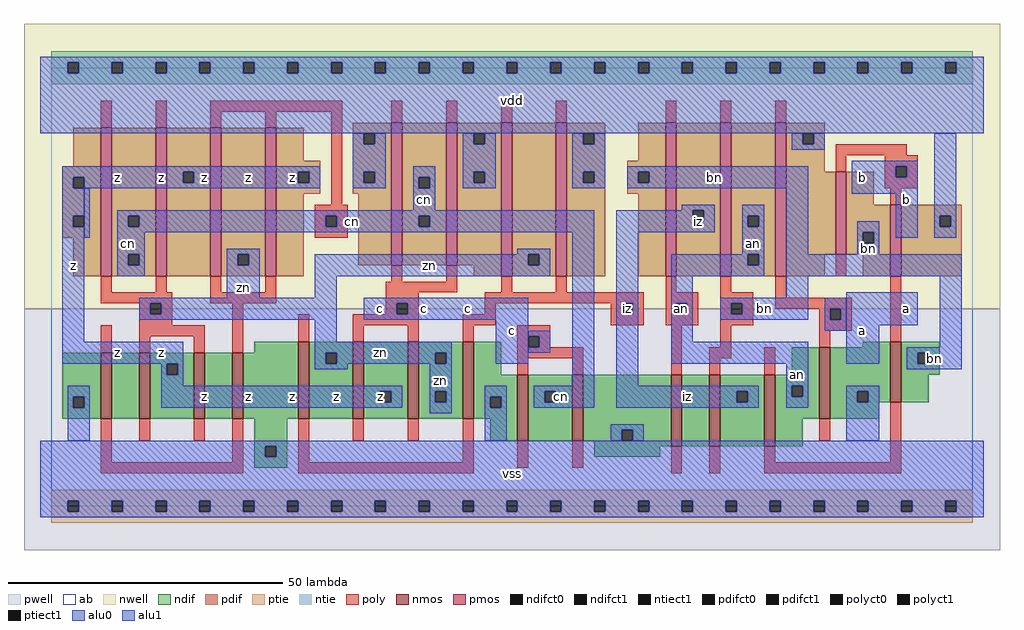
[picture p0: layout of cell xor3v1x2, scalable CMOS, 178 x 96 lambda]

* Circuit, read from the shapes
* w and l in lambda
.subckt xor3v1x2 a an b bn c cn iz vdd vss z zn
M1 n1 cn vss vss nfet w=12 l=2
M2 z zn n1 vss nfet w=12 l=2
M3 n2 zn z vss nfet w=12 l=2
M4 vss cn n2 vss nfet w=12 l=2
M5 zn iz vss vss nfet w=14 l=2 m=2
M6 z c zn vss nfet w=14 l=2 m=2
M7 cn c vss vss nfet w=12 l=2 m=2
M8 n3 an vss vss nfet w=13 l=2
M9 iz bn n3 vss nfet w=13 l=2
M10 an b iz vss nfet w=13 l=2
M11 vss a an vss nfet w=13 l=2
M12 bn b vss vss nfet w=11 l=2
M13 cn zn z vdd pfet w=27 l=2 m=2
M14 zn cn z vdd pfet w=27 l=2 m=2
M15 cn c vdd vdd pfet w=26 l=2 m=2
M16 zn iz vdd vdd pfet w=28 l=2 m=2
M17 iz an bn vdd pfet w=28 l=2
M18 an bn iz vdd pfet w=28 l=2
M19 vdd a an vdd pfet w=28 l=2
M20 bn b vdd vdd pfet w=15 l=2
M21 vdd b bn vdd pfet w=13 l=2
.ends

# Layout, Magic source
magic
tech scmos
<< ab >>
rect 0 0 168 80
<< nwell >>
rect -5 36 173 88
<< pwell >>
rect -5 -8 173 36
<< poly >>
rect 9 69 11 74
rect 19 69 21 74
rect 29 72 53 74
rect 29 69 31 72
rect 39 69 41 72
rect 51 55 53 72
rect 62 70 64 74
rect 72 70 74 74
rect 82 70 84 74
rect 92 70 94 74
rect 112 70 114 74
rect 122 70 124 74
rect 132 70 134 74
rect 48 53 54 55
rect 48 51 50 53
rect 52 51 54 53
rect 48 49 54 51
rect 9 39 11 42
rect 19 39 21 42
rect 29 39 31 42
rect 39 39 41 42
rect 62 41 64 44
rect 72 41 74 44
rect 143 64 156 66
rect 143 61 145 64
rect 152 62 158 64
rect 152 60 154 62
rect 156 60 158 62
rect 152 58 158 60
rect 153 55 155 58
rect 143 42 145 46
rect 9 37 22 39
rect 29 37 41 39
rect 61 39 74 41
rect 82 39 84 42
rect 92 39 94 42
rect 112 39 114 42
rect 122 39 124 42
rect 61 37 67 39
rect 16 35 18 37
rect 20 35 22 37
rect 16 33 22 35
rect 9 28 11 33
rect 16 31 28 33
rect 16 28 18 31
rect 26 28 28 31
rect 33 28 35 37
rect 61 35 63 37
rect 65 35 67 37
rect 79 37 108 39
rect 79 35 81 37
rect 45 30 47 35
rect 55 33 67 35
rect 55 30 57 33
rect 65 30 67 33
rect 75 33 81 35
rect 102 35 104 37
rect 106 35 108 37
rect 102 33 108 35
rect 112 37 118 39
rect 112 35 114 37
rect 116 35 118 37
rect 112 33 118 35
rect 122 37 128 39
rect 122 35 124 37
rect 126 35 128 37
rect 132 38 134 42
rect 132 36 146 38
rect 122 33 128 35
rect 140 34 142 36
rect 144 34 146 36
rect 75 30 77 33
rect 85 31 91 33
rect 85 29 87 31
rect 89 29 91 31
rect 85 27 97 29
rect 85 24 87 27
rect 95 24 97 27
rect 113 24 115 33
rect 122 29 124 33
rect 140 32 146 34
rect 140 29 142 32
rect 153 30 155 42
rect 120 27 124 29
rect 120 24 122 27
rect 130 24 132 29
rect 9 8 11 16
rect 16 12 18 16
rect 26 12 28 16
rect 33 8 35 16
rect 9 6 35 8
rect 45 8 47 16
rect 55 12 57 16
rect 65 12 67 16
rect 75 8 77 16
rect 45 6 77 8
rect 85 7 87 12
rect 95 7 97 12
rect 140 12 142 16
rect 113 6 115 11
rect 120 6 122 11
rect 130 8 132 11
rect 153 8 155 19
rect 130 6 155 8
<< ndif >>
rect 37 28 45 30
rect 2 20 9 28
rect 2 18 4 20
rect 6 18 9 20
rect 2 16 9 18
rect 11 16 16 28
rect 18 26 26 28
rect 18 24 21 26
rect 23 24 26 26
rect 18 16 26 24
rect 28 16 33 28
rect 35 16 45 28
rect 47 28 55 30
rect 47 26 50 28
rect 52 26 55 28
rect 47 16 55 26
rect 57 21 65 30
rect 57 19 60 21
rect 62 19 65 21
rect 57 16 65 19
rect 67 28 75 30
rect 67 26 70 28
rect 72 26 75 28
rect 67 21 75 26
rect 67 19 70 21
rect 72 19 75 21
rect 67 16 75 19
rect 77 24 82 30
rect 148 29 153 30
rect 135 24 140 29
rect 77 20 85 24
rect 77 18 80 20
rect 82 18 85 20
rect 77 16 85 18
rect 37 11 43 16
rect 37 9 39 11
rect 41 9 43 11
rect 37 7 43 9
rect 80 12 85 16
rect 87 21 95 24
rect 87 19 90 21
rect 92 19 95 21
rect 87 12 95 19
rect 97 14 113 24
rect 97 12 104 14
rect 106 12 113 14
rect 99 11 113 12
rect 115 11 120 24
rect 122 21 130 24
rect 122 19 125 21
rect 127 19 130 21
rect 122 11 130 19
rect 132 22 140 24
rect 132 20 135 22
rect 137 20 140 22
rect 132 16 140 20
rect 142 21 153 29
rect 142 19 147 21
rect 149 19 153 21
rect 155 28 162 30
rect 155 26 158 28
rect 160 26 162 28
rect 155 24 162 26
rect 155 19 160 24
rect 142 16 151 19
rect 132 11 137 16
rect 99 9 111 11
<< pdif >>
rect 4 62 9 69
rect 2 60 9 62
rect 2 58 4 60
rect 6 58 9 60
rect 2 53 9 58
rect 2 51 4 53
rect 6 51 9 53
rect 2 49 9 51
rect 4 42 9 49
rect 11 53 19 69
rect 11 51 14 53
rect 16 51 19 53
rect 11 46 19 51
rect 11 44 14 46
rect 16 44 19 46
rect 11 42 19 44
rect 21 61 29 69
rect 21 59 24 61
rect 26 59 29 61
rect 21 42 29 59
rect 31 46 39 69
rect 31 44 34 46
rect 36 44 39 46
rect 31 42 39 44
rect 41 63 46 69
rect 41 61 49 63
rect 41 59 45 61
rect 47 59 49 61
rect 41 57 49 59
rect 41 42 46 57
rect 55 68 62 70
rect 55 66 57 68
rect 59 66 62 68
rect 55 61 62 66
rect 55 59 57 61
rect 59 59 62 61
rect 55 57 62 59
rect 56 44 62 57
rect 64 60 72 70
rect 64 58 67 60
rect 69 58 72 60
rect 64 53 72 58
rect 64 51 67 53
rect 69 51 72 53
rect 64 44 72 51
rect 74 68 82 70
rect 74 66 77 68
rect 79 66 82 68
rect 74 61 82 66
rect 74 59 77 61
rect 79 59 82 61
rect 74 44 82 59
rect 77 42 82 44
rect 84 46 92 70
rect 84 44 87 46
rect 89 44 92 46
rect 84 42 92 44
rect 94 68 101 70
rect 94 66 97 68
rect 99 66 101 68
rect 94 61 101 66
rect 107 63 112 70
rect 94 59 97 61
rect 99 59 101 61
rect 94 42 101 59
rect 105 61 112 63
rect 105 59 107 61
rect 109 59 112 61
rect 105 57 112 59
rect 107 42 112 57
rect 114 54 122 70
rect 114 52 117 54
rect 119 52 122 54
rect 114 42 122 52
rect 124 53 132 70
rect 124 51 127 53
rect 129 51 132 53
rect 124 46 132 51
rect 124 44 127 46
rect 129 44 132 46
rect 124 42 132 44
rect 134 68 141 70
rect 134 66 137 68
rect 139 66 141 68
rect 134 61 141 66
rect 134 46 143 61
rect 145 55 150 61
rect 145 50 153 55
rect 145 48 148 50
rect 150 48 153 50
rect 145 46 153 48
rect 134 42 141 46
rect 148 42 153 46
rect 155 53 166 55
rect 155 51 162 53
rect 164 51 166 53
rect 155 42 166 51
<< alu1 >>
rect -2 81 170 82
rect -2 79 3 81
rect 5 79 11 81
rect 13 79 19 81
rect 21 79 27 81
rect 29 79 35 81
rect 37 79 43 81
rect 45 79 51 81
rect 53 79 59 81
rect 61 79 67 81
rect 69 79 75 81
rect 77 79 83 81
rect 85 79 91 81
rect 93 79 99 81
rect 101 79 107 81
rect 109 79 115 81
rect 117 79 123 81
rect 125 79 131 81
rect 133 79 139 81
rect 141 79 147 81
rect 149 79 155 81
rect 157 79 163 81
rect 165 79 170 81
rect -2 68 170 79
rect 2 61 49 62
rect 2 60 24 61
rect 2 58 4 60
rect 6 59 24 60
rect 26 59 45 61
rect 47 59 49 61
rect 6 58 49 59
rect 146 62 158 63
rect 2 53 6 58
rect 2 51 4 53
rect 2 30 6 51
rect 57 37 87 38
rect 57 35 63 37
rect 65 35 87 37
rect 57 34 87 35
rect 2 26 24 30
rect 20 24 21 26
rect 23 24 24 26
rect 81 26 87 34
rect 20 22 24 24
rect 20 21 64 22
rect 20 19 60 21
rect 62 19 64 21
rect 20 18 64 19
rect 146 60 154 62
rect 156 60 158 62
rect 146 57 158 60
rect 154 49 158 57
rect 145 33 158 39
rect 145 26 151 33
rect -2 11 170 12
rect -2 9 39 11
rect 41 9 170 11
rect -2 1 170 9
rect -2 -1 3 1
rect 5 -1 11 1
rect 13 -1 19 1
rect 21 -1 27 1
rect 29 -1 35 1
rect 37 -1 43 1
rect 45 -1 51 1
rect 53 -1 59 1
rect 61 -1 67 1
rect 69 -1 75 1
rect 77 -1 83 1
rect 85 -1 91 1
rect 93 -1 99 1
rect 101 -1 107 1
rect 109 -1 115 1
rect 117 -1 123 1
rect 125 -1 131 1
rect 133 -1 139 1
rect 141 -1 147 1
rect 149 -1 155 1
rect 157 -1 163 1
rect 165 -1 170 1
rect -2 -2 170 -1
<< ptie >>
rect 0 1 168 3
rect 0 -1 3 1
rect 5 -1 11 1
rect 13 -1 19 1
rect 21 -1 27 1
rect 29 -1 35 1
rect 37 -1 43 1
rect 45 -1 51 1
rect 53 -1 59 1
rect 61 -1 67 1
rect 69 -1 75 1
rect 77 -1 83 1
rect 85 -1 91 1
rect 93 -1 99 1
rect 101 -1 107 1
rect 109 -1 115 1
rect 117 -1 123 1
rect 125 -1 131 1
rect 133 -1 139 1
rect 141 -1 147 1
rect 149 -1 155 1
rect 157 -1 163 1
rect 165 -1 168 1
rect 0 -3 168 -1
<< ntie >>
rect 0 81 168 83
rect 0 79 3 81
rect 5 79 11 81
rect 13 79 19 81
rect 21 79 27 81
rect 29 79 35 81
rect 37 79 43 81
rect 45 79 51 81
rect 53 79 59 81
rect 61 79 67 81
rect 69 79 75 81
rect 77 79 83 81
rect 85 79 91 81
rect 93 79 99 81
rect 101 79 107 81
rect 109 79 115 81
rect 117 79 123 81
rect 125 79 131 81
rect 133 79 139 81
rect 141 79 147 81
rect 149 79 155 81
rect 157 79 163 81
rect 165 79 168 81
rect 0 77 168 79
<< nmos >>
rect 9 16 11 28
rect 16 16 18 28
rect 26 16 28 28
rect 33 16 35 28
rect 45 16 47 30
rect 55 16 57 30
rect 65 16 67 30
rect 75 16 77 30
rect 85 12 87 24
rect 95 12 97 24
rect 113 11 115 24
rect 120 11 122 24
rect 130 11 132 24
rect 140 16 142 29
rect 153 19 155 30
<< pmos >>
rect 9 42 11 69
rect 19 42 21 69
rect 29 42 31 69
rect 39 42 41 69
rect 62 44 64 70
rect 72 44 74 70
rect 82 42 84 70
rect 92 42 94 70
rect 112 42 114 70
rect 122 42 124 70
rect 132 42 134 70
rect 143 46 145 61
rect 153 42 155 55
<< polyct0 >>
rect 50 51 52 53
rect 18 35 20 37
rect 104 35 106 37
rect 114 35 116 37
rect 124 35 126 37
rect 142 34 144 36
rect 87 29 89 31
<< polyct1 >>
rect 154 60 156 62
rect 63 35 65 37
<< ndifct0 >>
rect 4 18 6 20
rect 50 26 52 28
rect 70 26 72 28
rect 70 19 72 21
rect 80 18 82 20
rect 90 19 92 21
rect 104 12 106 14
rect 125 19 127 21
rect 135 20 137 22
rect 147 19 149 21
rect 158 26 160 28
<< ndifct1 >>
rect 21 24 23 26
rect 60 19 62 21
rect 39 9 41 11
<< ntiect1 >>
rect 3 79 5 81
rect 11 79 13 81
rect 19 79 21 81
rect 27 79 29 81
rect 35 79 37 81
rect 43 79 45 81
rect 51 79 53 81
rect 59 79 61 81
rect 67 79 69 81
rect 75 79 77 81
rect 83 79 85 81
rect 91 79 93 81
rect 99 79 101 81
rect 107 79 109 81
rect 115 79 117 81
rect 123 79 125 81
rect 131 79 133 81
rect 139 79 141 81
rect 147 79 149 81
rect 155 79 157 81
rect 163 79 165 81
<< ptiect1 >>
rect 3 -1 5 1
rect 11 -1 13 1
rect 19 -1 21 1
rect 27 -1 29 1
rect 35 -1 37 1
rect 43 -1 45 1
rect 51 -1 53 1
rect 59 -1 61 1
rect 67 -1 69 1
rect 75 -1 77 1
rect 83 -1 85 1
rect 91 -1 93 1
rect 99 -1 101 1
rect 107 -1 109 1
rect 115 -1 117 1
rect 123 -1 125 1
rect 131 -1 133 1
rect 139 -1 141 1
rect 147 -1 149 1
rect 155 -1 157 1
rect 163 -1 165 1
<< pdifct0 >>
rect 14 51 16 53
rect 14 44 16 46
rect 34 44 36 46
rect 57 66 59 68
rect 57 59 59 61
rect 67 58 69 60
rect 67 51 69 53
rect 77 66 79 68
rect 77 59 79 61
rect 87 44 89 46
rect 97 66 99 68
rect 97 59 99 61
rect 107 59 109 61
rect 117 52 119 54
rect 127 51 129 53
rect 127 44 129 46
rect 137 66 139 68
rect 148 48 150 50
rect 162 51 164 53
<< pdifct1 >>
rect 4 58 6 60
rect 4 51 6 53
rect 24 59 26 61
rect 45 59 47 61
<< alu0 >>
rect 55 66 57 68
rect 59 66 61 68
rect 55 61 61 66
rect 75 66 77 68
rect 79 66 81 68
rect 55 59 57 61
rect 59 59 61 61
rect 55 58 61 59
rect 66 60 70 62
rect 66 58 67 60
rect 69 58 70 60
rect 75 61 81 66
rect 75 59 77 61
rect 79 59 81 61
rect 75 58 81 59
rect 95 66 97 68
rect 99 66 101 68
rect 95 61 101 66
rect 135 66 137 68
rect 139 66 141 68
rect 135 65 141 66
rect 95 59 97 61
rect 99 59 101 61
rect 95 58 101 59
rect 105 61 138 62
rect 105 59 107 61
rect 109 59 138 61
rect 105 58 138 59
rect 6 49 7 58
rect 66 54 70 58
rect 115 54 121 55
rect 12 53 99 54
rect 12 51 14 53
rect 16 51 50 53
rect 52 51 67 53
rect 69 51 99 53
rect 12 50 99 51
rect 12 46 17 50
rect 12 44 14 46
rect 16 44 17 46
rect 12 42 17 44
rect 32 46 38 47
rect 85 46 91 47
rect 32 44 34 46
rect 36 44 38 46
rect 32 38 38 44
rect 48 44 87 46
rect 89 44 91 46
rect 48 42 91 44
rect 48 38 52 42
rect 16 37 52 38
rect 16 35 18 37
rect 20 35 52 37
rect 16 34 52 35
rect 48 30 52 34
rect 48 28 73 30
rect 48 26 50 28
rect 52 26 70 28
rect 72 26 73 28
rect 87 31 91 32
rect 89 29 91 31
rect 87 28 91 29
rect 48 25 54 26
rect 3 20 7 22
rect 3 18 4 20
rect 6 18 7 20
rect 69 21 73 26
rect 95 22 99 50
rect 69 19 70 21
rect 72 19 73 21
rect 3 12 7 18
rect 69 17 73 19
rect 79 20 83 22
rect 79 18 80 20
rect 82 18 83 20
rect 88 21 99 22
rect 88 19 90 21
rect 92 19 99 21
rect 88 18 99 19
rect 103 52 117 54
rect 119 52 121 54
rect 103 50 121 52
rect 126 53 130 55
rect 126 51 127 53
rect 129 51 130 53
rect 103 37 107 50
rect 126 46 130 51
rect 103 35 104 37
rect 106 35 107 37
rect 103 22 107 35
rect 113 44 127 46
rect 129 44 130 46
rect 113 42 130 44
rect 134 46 138 58
rect 147 50 151 52
rect 147 48 148 50
rect 150 48 151 50
rect 161 53 165 68
rect 161 51 162 53
rect 164 51 165 53
rect 161 49 165 51
rect 147 46 151 48
rect 134 42 166 46
rect 113 37 117 42
rect 134 38 138 42
rect 113 35 114 37
rect 116 35 117 37
rect 113 30 117 35
rect 122 37 138 38
rect 122 35 124 37
rect 126 35 138 37
rect 122 34 138 35
rect 141 36 145 38
rect 141 34 142 36
rect 144 34 145 36
rect 141 32 145 34
rect 113 26 138 30
rect 162 29 166 42
rect 156 28 166 29
rect 156 26 158 28
rect 160 26 166 28
rect 134 22 138 26
rect 156 25 166 26
rect 103 21 129 22
rect 103 19 125 21
rect 127 19 129 21
rect 103 18 129 19
rect 134 20 135 22
rect 137 20 138 22
rect 134 18 138 20
rect 145 21 151 22
rect 145 19 147 21
rect 149 19 151 21
rect 79 12 83 18
rect 102 14 108 15
rect 102 12 104 14
rect 106 12 108 14
rect 145 12 151 19
<< labels >>
rlabel alu0 14 48 14 48 6 cn
rlabel alu0 35 40 35 40 6 zn
rlabel alu0 60 28 60 28 6 zn
rlabel alu0 71 23 71 23 6 zn
rlabel alu0 93 20 93 20 6 cn
rlabel alu0 69 44 69 44 6 zn
rlabel alu0 68 56 68 56 6 cn
rlabel alu0 55 52 55 52 6 cn
rlabel alu0 116 20 116 20 6 iz
rlabel polyct0 115 36 115 36 6 an
rlabel alu0 128 48 128 48 6 an
rlabel alu0 118 52 118 52 6 iz
rlabel polyct0 105 36 105 36 6 iz
rlabel alu0 136 24 136 24 6 an
rlabel alu0 161 27 161 27 6 bn
rlabel alu0 130 36 130 36 6 bn
rlabel alu0 149 47 149 47 6 bn
rlabel alu0 121 60 121 60 6 bn
rlabel alu1 28 20 28 20 6 z
rlabel alu1 36 20 36 20 6 z
rlabel alu1 12 28 12 28 6 z
rlabel alu1 20 28 20 28 6 z
rlabel alu1 4 44 4 44 6 z
rlabel alu1 12 60 12 60 6 z
rlabel alu1 20 60 20 60 6 z
rlabel alu1 28 60 28 60 6 z
rlabel alu1 36 60 36 60 6 z
rlabel alu1 52 20 52 20 6 z
rlabel alu1 60 20 60 20 6 z
rlabel alu1 44 20 44 20 6 z
rlabel alu1 76 36 76 36 6 c
rlabel alu1 68 36 68 36 6 c
rlabel alu1 60 36 60 36 6 c
rlabel alu1 44 60 44 60 6 z
rlabel alu1 84 6 84 6 6 vss
rlabel alu1 84 32 84 32 6 c
rlabel alu1 84 74 84 74 6 vdd
rlabel alu1 156 36 156 36 6 a
rlabel alu1 148 32 148 32 6 a
rlabel alu1 156 56 156 56 6 b
rlabel alu1 148 60 148 60 6 b
<< end >>
